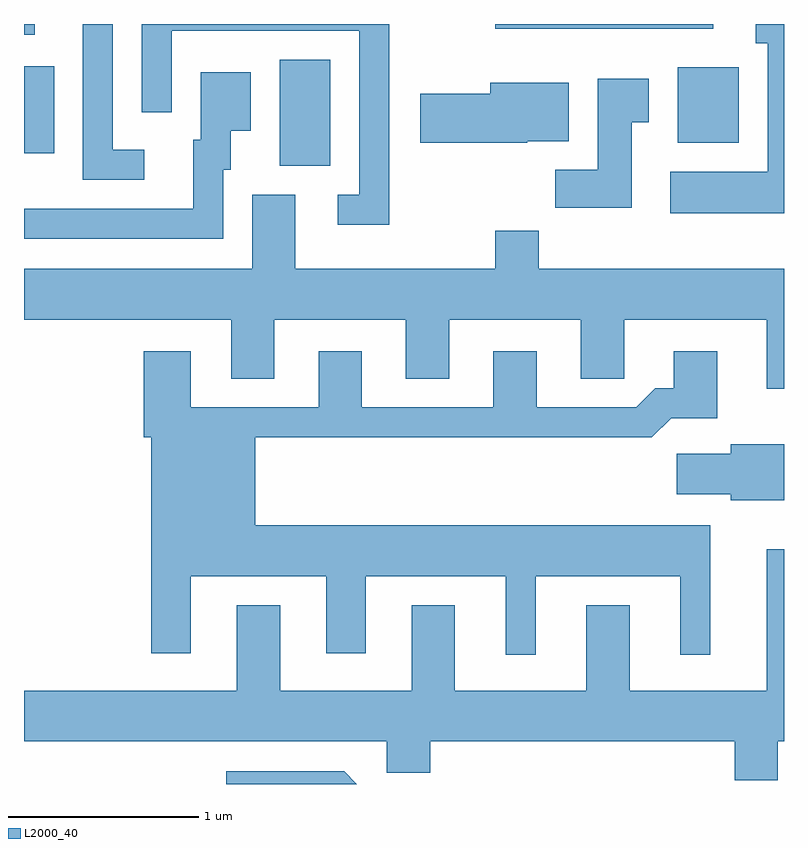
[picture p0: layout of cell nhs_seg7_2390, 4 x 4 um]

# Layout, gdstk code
import gdstk
lib = gdstk.Library(unit=1e-6, precision=1e-09)
def R(c, l, rs):  # rectangles x0, y0, x1, y1
    for r in rs: c.add(gdstk.rectangle(r[:2], r[2:], *l))
def P(c, l, *ps):  # polygons
    for p in ps: c.add(gdstk.Polygon(p, *l))
L2000_40 = (2000, 40)

nhs_seg7_2390 = lib.new_cell('nhs_seg7_2390')
R(nhs_seg7_2390, L2000_40, [(258.956,1779.506,259.224,1780.064), (257.611,1779.571,257.769,1780.029), (261.051,1779.626,261.374,1780.024), (257.611,1780.196,257.668,1780.252), (260.091,1780.226,261.239,1780.252)])
P(nhs_seg7_2390, L2000_40, [(261.611,1780.252),(261.462,1780.252),(261.462,1780.151),(261.526,1780.151),(261.526,1779.474),(261.011,1779.474),(261.011,1779.256),(261.611,1779.256)],
  [(258.243,1779.589),(258.079,1779.589),(258.079,1780.252),(257.921,1780.252),(257.921,1779.431),(258.243,1779.431)],
  [(259.534,1780.252),(258.231,1780.252),(258.231,1779.788),(258.389,1779.788),(258.389,1780.216),(259.376,1780.216),(259.376,1779.354),(259.263,1779.354),(259.263,1779.196),(259.534,1779.196)],
  [(258.659,1779.486),(258.699,1779.486),(258.699,1779.691),(258.804,1779.691),(258.804,1779.999),(258.541,1779.999),(258.541,1779.644),(258.501,1779.644),(258.501,1779.279),(257.611,1779.279),(257.611,1779.121),(258.659,1779.121)],
  [(260.809,1779.736),(260.899,1779.736),(260.899,1779.964),(260.631,1779.964),(260.631,1779.484),(260.406,1779.484),(260.406,1779.286),(260.809,1779.286)],
  [(260.26,1779.636),(260.479,1779.636),(260.479,1779.944),(260.066,1779.944),(260.066,1779.884),(259.696,1779.884),(259.696,1779.626),(260.26,1779.626)],
  [(261.611,1778.964),(260.319,1778.964),(260.319,1779.164),(260.091,1779.164),(260.091,1778.964),(259.039,1778.964),(259.039,1779.354),(258.811,1779.354),(258.811,1778.964),(257.611,1778.964),(257.611,1778.696),(258.701,1778.696),(258.701,1778.386),(258.929,1778.386),(258.929,1778.696),(259.621,1778.696),(259.621,1778.386),(259.849,1778.386),(259.849,1778.696),(260.541,1778.696),(260.541,1778.386),(260.769,1778.386),(260.769,1778.696),(261.521,1778.696),(261.521,1778.333),(261.611,1778.333)],
  [(260.304,1777.346),(261.066,1777.346),(261.066,1776.933),(261.224,1776.933),(261.224,1777.614),(258.829,1777.614),(258.829,1778.076),(260.916,1778.076),(261.017,1778.176),(261.259,1778.176),(261.259,1778.529),(261.031,1778.529),(261.031,1778.334),(260.933,1778.334),(260.834,1778.234),(260.309,1778.234),(260.309,1778.529),(260.081,1778.529),(260.081,1778.234),(259.389,1778.234),(259.389,1778.529),(259.161,1778.529),(259.161,1778.234),(258.489,1778.234),(258.489,1778.529),(258.241,1778.529),(258.241,1778.076),(258.281,1778.076),(258.281,1776.941),(258.489,1776.941),(258.489,1777.346),(259.201,1777.346),(259.201,1776.941),(259.409,1776.941),(259.409,1777.346),(260.146,1777.346),(260.146,1776.933),(260.304,1776.933)],
  [(261.611,1778.039),(261.331,1778.039),(261.331,1777.989),(261.046,1777.989),(261.046,1777.776),(261.331,1777.776),(261.331,1777.746),(261.611,1777.746)],
  [(261.579,1776.476),(261.611,1776.476),(261.611,1777.488),(261.521,1777.488),(261.521,1776.744),(260.799,1776.744),(260.799,1777.194),(260.571,1777.194),(260.571,1776.744),(259.879,1776.744),(259.879,1777.194),(259.651,1777.194),(259.651,1776.744),(258.959,1776.744),(258.959,1777.194),(258.731,1777.194),(258.731,1776.744),(257.611,1776.744),(257.611,1776.476),(259.521,1776.476),(259.521,1776.311),(259.749,1776.311),(259.749,1776.476),(261.351,1776.476),(261.351,1776.271),(261.579,1776.271)],
  [(259.296,1776.319),(258.676,1776.319),(258.676,1776.252),(259.363,1776.252)])

lib.write_gds('nhs_seg7_2390.gds')
